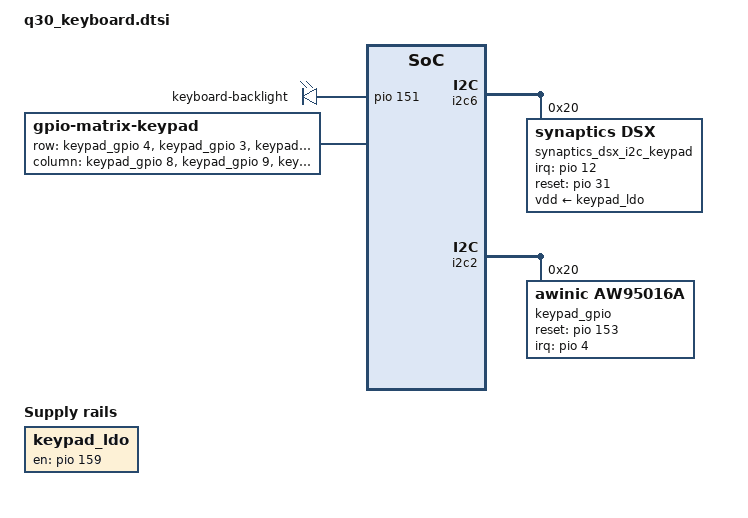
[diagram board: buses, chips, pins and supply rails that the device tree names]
&odm {
	leds {
		keyboard {
			label = "keyboard-backlight";
			gpios = <&pio 151 0>;
			default-state = "off";
			linux,default-trigger = "kbd-backlight";
		};
	};

	keypad_ldo: fixed-regulator-0 {
		compatible = "regulator-fixed";
		regulator-name = "keypad_ldo";
		gpio = <&pio 159 0>;
		enable-active-high;
	};
};

&i2c6 {
	synaptics_dsx_i2c_keypad@20 {
		compatible = "synaptics,dsx";
		reg = <0x20>;
		vdd-supply = <&keypad_ldo>;
		synaptics,pwr-reg-name = "vdd";
		synaptics,input-device-name = "touch_keypad";
		synaptics,irq-gpio = <&pio 12 0>;
		synaptics,irq-flags = <0x2008>;
		synaptics,reset-gpio = <&pio 31 0>;
		synaptics,reset-on-state = <0>;
		synaptics,reset-delay-ms = <63>;
		synaptics,reset-active-ms = <1>;
		synaptics,touchpad;
		synaptics,firmware = "passport_keyboard.bin";
		synaptics,flash-only-bricked;
	};
};

&i2c2 {
	status = "okay";
	keypad_gpio: aw95016_ex@20 {
		compatible = "awinic,aw95016a";
		reg = <0x20>;
		reset-gpio = <&pio 153 0>;
		interrupt-parent = <&pio>;
		interrupts = <4 IRQ_TYPE_EDGE_FALLING>;
		gpio-controller;
		interrupt-controller;
		#gpio-cells = <2>;
		#interrupt-cells = <2>;
		status = "okay";
	};
};

&odm {
	keypad {
		compatible = "gpio-matrix-keypad";
		row-gpios = <&keypad_gpio 4 0>,
			<&keypad_gpio 3 0>,
			<&keypad_gpio 2 0>,
			<&keypad_gpio 5 0>,
			<&keypad_gpio 6 0>,
			<&keypad_gpio 7 0>;
		column-gpios = <&keypad_gpio 8 0>,
			<&keypad_gpio 9 0>,
			<&keypad_gpio 10 0>,
			<&keypad_gpio 11 0>,
			<&keypad_gpio 12 0>;
		keypad,num-rows = <6>;
		keypad,num-columns = <5>;
		keypad,debounce-ms = <5>;
		linux,keypad-no-autorepeat;
		linux,keymap = <0x02000010 /* row: 2 column: 0 keycode: KEY_Q */
				0x02010011 /* row: 2 column: 1 keycode: KEY_W */
				0x02020012 /* row: 2 column: 2 keycode: KEY_E */
				0x02030013 /* row: 2 column: 3 keycode: KEY_R */
				0x02040014 /* row: 2 column: 4 keycode: KEY_T */
				0x03000015 /* row: 3 column: 0 keycode: KEY_Y */
				0x03010016 /* row: 3 column: 1 keycode: KEY_U */
				0x03020017 /* row: 3 column: 2 keycode: KEY_I */
				0x03030018 /* row: 3 column: 3 keycode: KEY_O */
				0x03040019 /* row: 3 column: 4 keycode: KEY_P */
				0x0100001e /* row: 1 column: 0 keycode: KEY_A */
				0x0101001f /* row: 1 column: 1 keycode: KEY_S */
				0x01020020 /* row: 1 column: 2 keycode: KEY_D */
				0x01030021 /* row: 1 column: 3 keycode: KEY_F */
				0x01040022 /* row: 1 column: 4 keycode: KEY_G */
				0x04000023 /* row: 4 column: 0 keycode: KEY_H */
				0x04010024 /* row: 4 column: 1 keycode: KEY_J */
				0x04020025 /* row: 4 column: 2 keycode: KEY_K */
				0x04030026 /* row: 4 column: 3 keycode: KEY_L */
				0x0404000e /* row: 4 column: 4 keycode: KEY_BACKSPACE */
				0x0000002c /* row: 0 column: 0 keycode: KEY_Z */
				0x0001002d /* row: 0 column: 1 keycode: KEY_X */
				0x0002002e /* row: 0 column: 2 keycode: KEY_C */
				0x0003002f /* row: 0 column: 3 keycode: KEY_V */
				0x00040039 /* row: 0 column: 4 keycode: KEY_SPACE */
				0x05010030 /* row: 5 column: 1 keycode: KEY_B */
				0x05020031 /* row: 5 column: 2 keycode: KEY_N */
				0x05030032 /* row: 5 column: 3 keycode: KEY_M */
				0x0504001c>; /* row: 5 column: 4 keycode: KEY_ENTER */
	};
};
